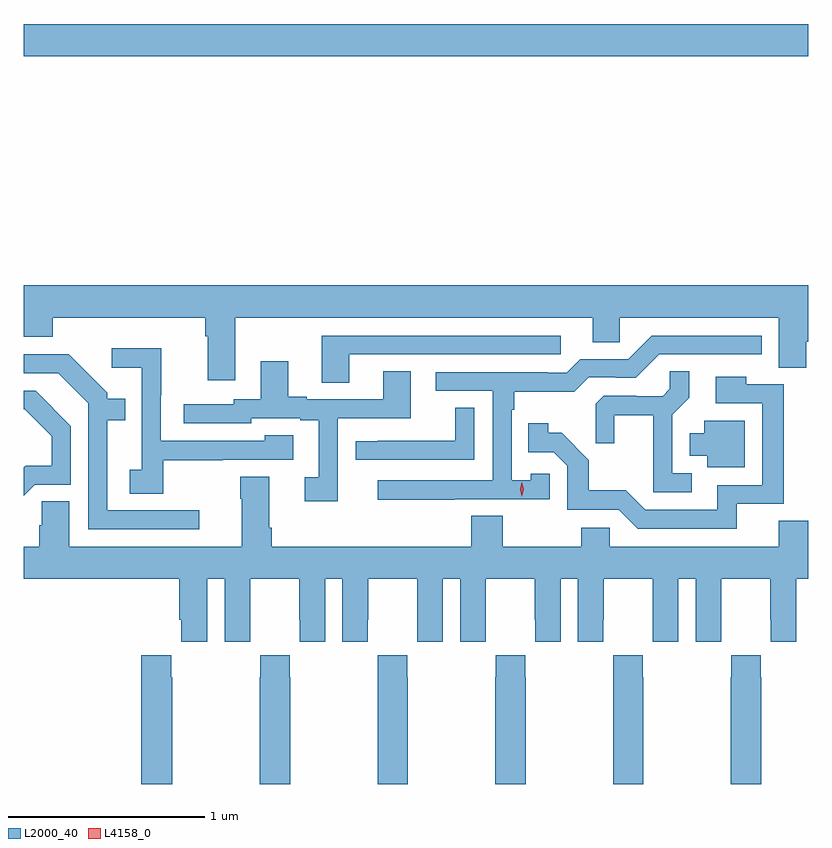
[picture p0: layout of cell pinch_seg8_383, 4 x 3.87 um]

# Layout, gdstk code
import gdstk
lib = gdstk.Library(unit=1e-6, precision=1e-09)
def R(c, l, rs):  # rectangles x0, y0, x1, y1
    for r in rs: c.add(gdstk.rectangle(r[:2], r[2:], *l))
def P(c, l, *ps):  # polygons
    for p in ps: c.add(gdstk.Polygon(p, *l))
L2000_40 = (2000, 40)
L4158_0 = (4158, 0)

pinch_seg8_383 = lib.new_cell('pinch_seg8_383')
R(pinch_seg8_383, L2000_40, [(476.871,1099.184,480.871,1099.348)])
P(pinch_seg8_383, L2000_40, [(476.871,1097.753),(477.02,1097.753),(477.02,1097.852),(477.797,1097.852),(477.797,1097.756),(477.809,1097.756),(477.809,1097.532),(477.949,1097.532),(477.949,1097.852),(479.771,1097.852),(479.771,1097.725),(479.91,1097.725),(479.91,1097.852),(480.719,1097.852),(480.719,1097.596),(480.859,1097.596),(480.859,1097.73),(480.871,1097.73),(480.871,1098.016),(476.871,1098.016)],
  [(478.531,1097.664),(479.608,1097.664),(479.608,1097.76),(478.391,1097.76),(478.391,1097.521),(478.531,1097.521)],
  [(479.069,1096.926),(479.553,1096.926),(479.553,1097.055),(479.457,1097.055),(479.457,1097.023),(479.358,1097.023),(479.358,1097.381),(479.371,1097.381),(479.371,1097.474),(479.678,1097.474),(479.751,1097.547),(479.89,1097.547),(479.89,1097.544),(479.991,1097.544),(480.111,1097.664),(480.634,1097.664),(480.634,1097.76),(480.072,1097.76),(479.952,1097.64),(479.709,1097.64),(479.64,1097.571),(479.54,1097.571),(479.54,1097.574),(478.971,1097.574),(478.971,1097.478),(479.262,1097.478),(479.262,1097.022),(478.677,1097.022),(478.677,1096.924),(479.069,1096.924)],
  [(477.583,1097.125),(477.887,1097.125),(477.887,1097.127),(478.246,1097.127),(478.246,1097.251),(478.101,1097.251),(478.101,1097.223),(477.57,1097.223),(477.57,1097.456),(477.573,1097.456),(477.573,1097.695),(477.321,1097.695),(477.321,1097.597),(477.474,1097.597),(477.474,1097.076),(477.411,1097.076),(477.411,1096.954),(477.583,1096.954)],
  [(477.766,1096.869),(477.298,1096.869),(477.298,1097.328),(477.389,1097.328),(477.389,1097.437),(477.297,1097.437),(477.297,1097.469),(477.102,1097.664),(476.871,1097.664),(476.871,1097.568),(477.048,1097.568),(477.201,1097.415),(477.201,1096.773),(477.766,1096.773)],
  [(478.473,1097.34),(478.843,1097.34),(478.843,1097.579),(478.703,1097.579),(478.703,1097.436),(478.315,1097.436),(478.315,1097.449),(478.219,1097.449),(478.219,1097.629),(478.079,1097.629),(478.079,1097.436),(477.942,1097.436),(477.942,1097.409),(477.687,1097.409),(477.687,1097.313),(478.032,1097.313),(478.032,1097.34),(478.28,1097.34),(478.28,1097.328),(478.376,1097.328),(478.376,1097.037),(478.305,1097.037),(478.305,1096.917),(478.473,1096.917)],
  [(480.277,1097.058),(480.177,1097.058),(480.177,1097.357),(480.263,1097.443),(480.263,1097.579),(480.165,1097.579),(480.165,1097.488),(480.128,1097.451),(479.994,1097.451),(479.994,1097.454),(479.829,1097.454),(479.788,1097.413),(479.788,1097.211),(479.882,1097.211),(479.882,1097.354),(480.08,1097.354),(480.08,1096.962),(480.277,1096.962)],
  [(480.506,1096.902),(480.745,1096.902),(480.745,1097.511),(480.555,1097.511),(480.555,1097.551),(480.399,1097.551),(480.399,1097.415),(480.636,1097.415),(480.636,1096.998),(480.407,1096.998),(480.407,1096.872),(480.039,1096.872),(479.941,1096.971),(479.752,1096.971),(479.752,1097.126),(479.614,1097.264),(479.544,1097.264),(479.544,1097.314),(479.443,1097.314),(479.443,1097.166),(479.574,1097.166),(479.643,1097.097),(479.643,1096.872),(479.904,1096.872),(480,1096.776),(480.506,1096.776)],
  [(476.928,1097.001),(477.111,1097.001),(477.111,1097.299),(476.932,1097.478),(476.871,1097.478),(476.871,1097.385),(476.877,1097.385),(477.014,1097.248),(477.014,1097.098),(476.881,1097.098),(476.871,1097.088),(476.871,1096.944)],
  [(479.169,1097.393),(479.071,1097.393),(479.071,1097.223),(478.675,1097.223),(478.675,1097.222),(478.563,1097.222),(478.563,1097.127),(479.169,1097.127)],
  [(480.547,1097.326),(480.341,1097.326),(480.341,1097.263),(480.266,1097.263),(480.266,1097.147),(480.356,1097.147),(480.356,1097.09),(480.547,1097.09)],
  [(479.313,1096.841),(479.153,1096.841),(479.153,1096.684),(478.136,1096.684),(478.136,1096.78),(478.123,1096.78),(478.123,1097.041),(477.976,1097.041),(477.976,1096.928),(477.983,1096.928),(477.983,1096.684),(477.103,1096.684),(477.103,1096.916),(476.965,1096.916),(476.965,1096.794),(476.951,1096.794),(476.951,1096.684),(476.871,1096.684),(476.871,1096.52),(477.665,1096.52),(477.665,1096.312),(477.674,1096.312),(477.674,1096.2),(477.808,1096.2),(477.808,1096.52),(477.896,1096.52),(477.896,1096.2),(478.026,1096.2),(478.026,1096.312),(478.027,1096.312),(478.027,1096.52),(478.277,1096.52),(478.277,1096.312),(478.278,1096.312),(478.278,1096.2),(478.408,1096.2),(478.408,1096.52),(478.496,1096.52),(478.496,1096.2),(478.626,1096.2),(478.626,1096.312),(478.627,1096.312),(478.627,1096.52),(478.877,1096.52),(478.877,1096.312),(478.878,1096.312),(478.878,1096.2),(479.008,1096.2),(479.008,1096.52),(479.096,1096.52),(479.096,1096.2),(479.226,1096.2),(479.226,1096.312),(479.227,1096.312),(479.227,1096.52),(479.477,1096.52),(479.477,1096.312),(479.478,1096.312),(479.478,1096.2),(479.608,1096.2),(479.608,1096.52),(479.696,1096.52),(479.696,1096.2),(479.826,1096.2),(479.826,1096.312),(479.827,1096.312),(479.827,1096.52),(480.077,1096.52),(480.077,1096.312),(480.078,1096.312),(480.078,1096.2),(480.208,1096.2),(480.208,1096.52),(480.296,1096.52),(480.296,1096.2),(480.426,1096.2),(480.426,1096.312),(480.427,1096.312),(480.427,1096.52),(480.677,1096.52),(480.677,1096.312),(480.678,1096.312),(480.678,1096.2),(480.808,1096.2),(480.808,1096.52),(480.871,1096.52),(480.871,1096.817),(480.719,1096.817),(480.719,1096.684),(479.859,1096.684),(479.859,1096.782),(479.713,1096.782),(479.713,1096.684),(479.313,1096.684)],
  [(478.23,1096.019),(478.227,1096.019),(478.227,1096.132),(478.077,1096.132),(478.077,1096.019),(478.075,1096.019),(478.075,1095.475),(478.23,1095.475)],
  [(478.83,1096.019),(478.827,1096.019),(478.827,1096.132),(478.677,1096.132),(478.677,1096.019),(478.675,1096.019),(478.675,1095.475),(478.83,1095.475)],
  [(479.43,1096.019),(479.427,1096.019),(479.427,1096.132),(479.277,1096.132),(479.277,1096.019),(479.275,1096.019),(479.275,1095.475),(479.43,1095.475)],
  [(480.03,1096.019),(480.027,1096.019),(480.027,1096.132),(479.877,1096.132),(479.877,1096.019),(479.875,1096.019),(479.875,1095.475),(480.03,1095.475)],
  [(477.63,1096.019),(477.623,1096.019),(477.623,1096.132),(477.47,1096.132),(477.47,1095.475),(477.63,1095.475)],
  [(480.63,1096.019),(480.627,1096.019),(480.627,1096.132),(480.477,1096.132),(480.477,1096.019),(480.475,1096.019),(480.475,1095.475),(480.63,1095.475)])
P(pinch_seg8_383, L4158_0, [(479.411,1096.941),(479.411,1096.942),(479.401,1096.977),(479.411,1097.013),(479.411,1097.013),(479.411,1097.013),(479.421,1096.977),(479.411,1096.942)])

lib.write_gds('pinch_seg8_383.gds')
